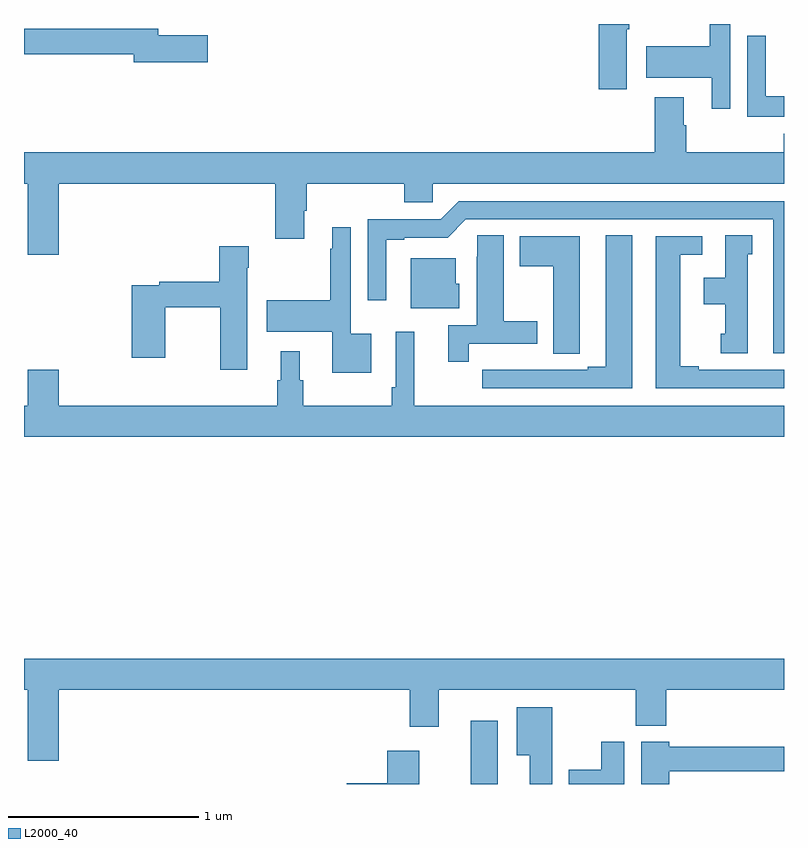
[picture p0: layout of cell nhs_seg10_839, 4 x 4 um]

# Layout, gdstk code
import gdstk
lib = gdstk.Library(unit=1e-6, precision=1e-09)
def R(c, l, rs):  # rectangles x0, y0, x1, y1
    for r in rs: c.add(gdstk.rectangle(r[:2], r[2:], *l))
def P(c, l, *ps):  # polygons
    for p in ps: c.add(gdstk.Polygon(p, *l))
L2000_40 = (2000, 40)

nhs_seg10_839 = lib.new_cell('nhs_seg10_839')
R(nhs_seg10_839, L2000_40, [(155.351,1286.5,155.494,1286.833)])
P(nhs_seg10_839, L2000_40, [(156.172,1290.473),(156.186,1290.473),(156.186,1290.5),(156.026,1290.5),(156.026,1290.156),(156.172,1290.156)],
  [(156.717,1290.5),(156.609,1290.5),(156.609,1290.384),(156.276,1290.384),(156.276,1290.218),(156.62,1290.218),(156.62,1290.054),(156.717,1290.054)],
  [(153.967,1290.44),(153.706,1290.44),(153.706,1290.476),(153,1290.476),(153,1290.34),(153.578,1290.34),(153.578,1290.298),(153.967,1290.298)],
  [(157,1290.121),(156.904,1290.121),(156.904,1290.439),(156.807,1290.439),(156.807,1290.012),(157,1290.012)],
  [(153.184,1289.66),(154.322,1289.66),(154.322,1289.37),(154.474,1289.37),(154.474,1289.518),(154.487,1289.518),(154.487,1289.66),(155,1289.66),(155,1289.562),(155.151,1289.562),(155.151,1289.66),(157,1289.66),(157,1289.922),(156.998,1289.922),(156.998,1289.824),(156.485,1289.824),(156.485,1289.966),(156.472,1289.966),(156.472,1290.115),(156.32,1290.115),(156.32,1289.824),(153,1289.824),(153,1289.66),(153.02,1289.66),(153.02,1289.286),(153.184,1289.286)],
  [(157,1289.568),(155.289,1289.568),(155.193,1289.472),(154.809,1289.472),(154.809,1289.046),(154.906,1289.046),(154.906,1289.364),(155.002,1289.364),(155.002,1289.376),(155.229,1289.376),(155.325,1289.472),(156.944,1289.472),(156.944,1288.767),(157,1288.767)],
  [(154.828,1288.87),(154.719,1288.87),(154.719,1289.431),(154.622,1289.431),(154.622,1289.318),(154.611,1289.318),(154.611,1289.046),(154.278,1289.046),(154.278,1288.88),(154.622,1288.88),(154.622,1288.664),(154.828,1288.664)],
  [(155.342,1288.818),(155.701,1288.818),(155.701,1288.935),(155.524,1288.935),(155.524,1289.387),(155.385,1289.387),(155.385,1289.276),(155.384,1289.276),(155.384,1288.914),(155.234,1288.914),(155.234,1288.722),(155.342,1288.722)],
  [(156.808,1289.289),(156.832,1289.289),(156.832,1289.387),(156.692,1289.387),(156.692,1289.164),(156.578,1289.164),(156.578,1289.024),(156.692,1289.024),(156.692,1288.869),(156.668,1288.869),(156.668,1288.767),(156.808,1288.767)],
  [(156.202,1289.387),(156.062,1289.387),(156.062,1288.695),(155.966,1288.695),(155.966,1288.68),(155.69,1288.68),(155.69,1288.681),(155.524,1288.681),(155.524,1288.68),(155.412,1288.68),(155.412,1288.584),(156.202,1288.584)],
  [(155.925,1288.873),(155.926,1288.873),(155.926,1289.383),(155.609,1289.383),(155.609,1289.224),(155.786,1289.224),(155.786,1288.765),(155.925,1288.765)],
  [(157,1288.68),(156.55,1288.68),(156.55,1288.7),(156.454,1288.7),(156.454,1289.286),(156.571,1289.286),(156.571,1289.382),(156.326,1289.382),(156.326,1288.584),(157,1288.584)],
  [(154.174,1289.216),(154.182,1289.216),(154.182,1289.329),(154.028,1289.329),(154.028,1289.144),(153.712,1289.144),(153.712,1289.124),(153.566,1289.124),(153.566,1288.743),(153.744,1288.743),(153.744,1289.008),(154.033,1289.008),(154.033,1288.68),(154.174,1288.68)],
  [(155.29,1289.133),(155.272,1289.133),(155.272,1289.266),(155.036,1289.266),(155.036,1289.003),(155.29,1289.003)],
  [(157,1288.492),(155.054,1288.492),(155.054,1288.879),(154.956,1288.879),(154.956,1288.588),(154.936,1288.588),(154.936,1288.492),(154.469,1288.492),(154.469,1288.626),(154.45,1288.626),(154.45,1288.777),(154.352,1288.777),(154.352,1288.626),(154.333,1288.626),(154.333,1288.492),(153.184,1288.492),(153.184,1288.681),(153.02,1288.681),(153.02,1288.492),(153,1288.492),(153,1288.328),(157,1288.328)],
  [(153.184,1286.996),(155.03,1286.996),(155.03,1286.802),(155.182,1286.802),(155.182,1286.996),(156.22,1286.996),(156.22,1286.807),(156.38,1286.807),(156.38,1286.996),(157,1286.996),(157,1287.16),(153,1287.16),(153,1286.996),(153.02,1286.996),(153.02,1286.622),(153.184,1286.622)],
  [(155.779,1286.905),(155.594,1286.905),(155.594,1286.651),(155.663,1286.651),(155.663,1286.5),(155.779,1286.5)],
  [(156.16,1286.722),(156.038,1286.722),(156.038,1286.575),(155.867,1286.575),(155.867,1286.5),(156.16,1286.5)],
  [(156.395,1286.566),(157,1286.566),(157,1286.695),(156.395,1286.695),(156.395,1286.722),(156.248,1286.722),(156.248,1286.5),(156.395,1286.5)],
  [(155.08,1286.674),(154.913,1286.674),(154.913,1286.504),(154.698,1286.504),(154.698,1286.5),(155.08,1286.5)])

lib.write_gds('nhs_seg10_839.gds')
